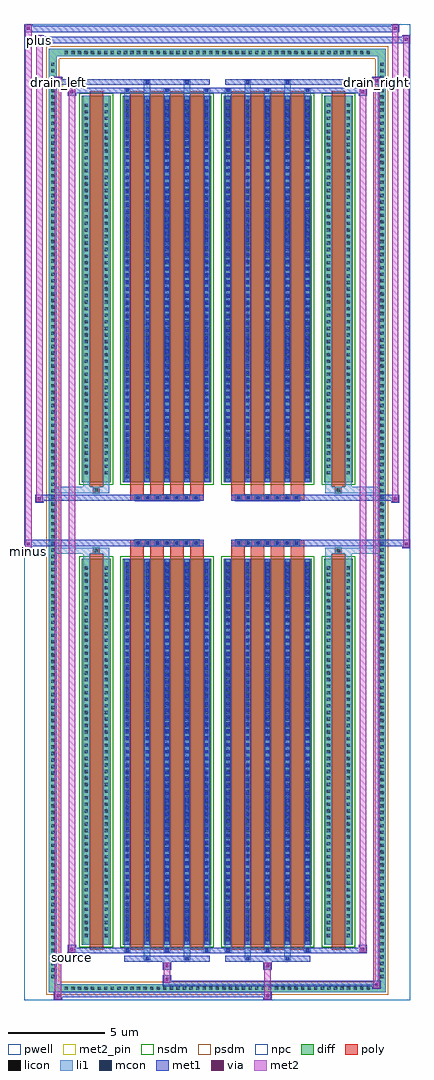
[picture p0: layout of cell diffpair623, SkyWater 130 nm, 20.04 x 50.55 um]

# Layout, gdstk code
import gdstk
lib = gdstk.Library(unit=1e-6, precision=5e-09)
def R(c, l, rs):  # rectangles x0, y0, x1, y1
    for r in rs: c.add(gdstk.rectangle(r[:2], r[2:], *l))
def A(c, l, x, y, w, h, nx, ny, dx, dy):  # array of equal rectangles
    R(c, l, [(x+i*dx, y+j*dy, x+i*dx+w, y+j*dy+h) for i in range(nx) for j in range(ny)])
def P(c, l, *ps):  # polygons
    for p in ps: c.add(gdstk.Polygon(p, *l))
pwell = (64, 44)
diff = (65, 20)
poly = (66, 20)
licon = (66, 44)
li1 = (67, 20)
mcon = (67, 44)
met1 = (68, 20)
via = (68, 44)
met2_pin = (69, 16)
met2 = (69, 20)
nsdm = (93, 44)
psdm = (94, 20)
npc = (95, 20)

diffpair623 = lib.new_cell('diffpair623')
R(diffpair623, pwell, [(-10,-24.84,10,25.71), (-7.32,-23.03,-0.01,-0.805), (0.01,-23.03,7.32,-0.805), (-7.32,0.805,-0.01,23.03), (0.01,0.805,7.32,23.03)])
A(diffpair623, diff, -8.025, -24.44, 0.41, 0.41, 47, 2, 0.34, 48.47)
A(diffpair623, diff, -8.73, -23.835, 0.41, 0.41, 1, 140, 0, 0.34)
A(diffpair623, diff, 8.32, -23.835, 0.41, 0.41, 1, 140, 0, 0.34)
R(diffpair623, diff, [(-8.025,-24.44,8.025,-24.03), (-8.73,-23.835,-8.32,23.835), (8.32,-23.835,8.73,23.835), (-7.01,-21.985,-5.53,-1.985), (-4.89,-21.985,-0.32,-1.985), (0.32,-21.985,4.89,-1.985), (5.53,-21.985,7.01,-1.985), (-7.01,1.985,-5.53,21.985), (-4.89,1.985,-0.32,21.985), (0.32,1.985,4.89,21.985), (5.53,1.985,7.01,21.985), (-8.025,24.03,8.025,24.44)])
P(diffpair623, diff, [(8.73,24.44),(-8.73,24.44),(-8.73,-24.03),(-8.32,-24.03),(-8.32,24.03),(8.32,24.03),(8.32,-24.03),(-8.32,-24.03),(-8.73,-24.03),(-8.73,-24.44),(8.73,-24.44)])
A(diffpair623, poly, -4.5, -22.235, 0.7, 20.5, 4, 2, 1.03, 23.97)
A(diffpair623, poly, 0.71, -22.235, 0.7, 20.5, 4, 2, 1.03, 23.97)
A(diffpair623, poly, -4.5, -1.735, 0.7, 0.4, 4, 2, 1.03, 3.07)
A(diffpair623, poly, 0.71, -1.735, 0.7, 0.4, 4, 2, 1.03, 3.07)
A(diffpair623, poly, -4.27, -1.335, 0.33, 0.33, 7, 2, 0.5, 2.34)
A(diffpair623, poly, 0.94, -1.335, 0.33, 0.33, 7, 2, 0.5, 2.34)
R(diffpair623, poly, [(-6.62,-22.235,-5.92,-1.735), (5.92,-22.235,6.62,-1.735), (-6.435,-1.735,-6.105,-1.405), (-6.435,-1.735,-6.105,-1.405), (6.105,-1.735,6.435,-1.405), (6.105,-1.735,6.435,-1.405), (-4.5,-1.335,-0.71,-1.005), (0.71,-1.335,4.5,-1.005), (-4.5,1.005,-0.71,1.335), (0.71,1.005,4.5,1.335), (-6.435,1.405,-6.105,1.735), (-6.435,1.405,-6.105,1.735), (6.105,1.405,6.435,1.735), (6.105,1.405,6.435,1.735), (-6.62,1.735,-5.92,22.235), (5.92,1.735,6.62,22.235)])
A(diffpair623, licon, -7.905, -24.32, 0.17, 0.17, 47, 2, 0.34, 48.47)
A(diffpair623, licon, -8.61, -23.715, 0.17, 0.17, 1, 140, 0, 0.34)
A(diffpair623, licon, 8.44, -23.715, 0.17, 0.17, 1, 140, 0, 0.34)
A(diffpair623, licon, -6.87, -21.59, 0.17, 0.17, 1, 57, 0, 0.34)
A(diffpair623, licon, -5.84, -21.59, 0.17, 0.17, 1, 57, 0, 0.34)
A(diffpair623, licon, -4.75, -21.59, 0.17, 0.17, 5, 57, 1.03, 0.34)
A(diffpair623, licon, 0.46, -21.59, 0.17, 0.17, 5, 57, 1.03, 0.34)
A(diffpair623, licon, 5.67, -21.59, 0.17, 0.17, 1, 57, 0, 0.34)
A(diffpair623, licon, 6.7, -21.59, 0.17, 0.17, 1, 57, 0, 0.34)
A(diffpair623, licon, -4.19, -1.255, 0.17, 0.17, 7, 2, 0.5, 2.34)
A(diffpair623, licon, 1.02, -1.255, 0.17, 0.17, 7, 2, 0.5, 2.34)
A(diffpair623, licon, -6.87, 2.38, 0.17, 0.17, 1, 57, 0, 0.34)
A(diffpair623, licon, -5.84, 2.38, 0.17, 0.17, 1, 57, 0, 0.34)
A(diffpair623, licon, -4.75, 2.38, 0.17, 0.17, 5, 57, 1.03, 0.34)
A(diffpair623, licon, 0.46, 2.38, 0.17, 0.17, 5, 57, 1.03, 0.34)
A(diffpair623, licon, 5.67, 2.38, 0.17, 0.17, 1, 57, 0, 0.34)
A(diffpair623, licon, 6.7, 2.38, 0.17, 0.17, 1, 57, 0, 0.34)
R(diffpair623, licon, [(-6.355,-1.655,-6.185,-1.485), (6.185,-1.655,6.355,-1.485), (-6.355,1.485,-6.185,1.655), (6.185,1.485,6.355,1.655)])
A(diffpair623, li1, -7.985, -24.4, 0.33, 0.33, 47, 2, 0.34, 48.47)
A(diffpair623, li1, -8.69, -23.795, 0.33, 0.33, 1, 140, 0, 0.34)
A(diffpair623, li1, 8.36, -23.795, 0.33, 0.33, 1, 140, 0, 0.34)
A(diffpair623, li1, -4.83, -22.36, 0.33, 0.375, 3, 2, 2.06, 44.345)
A(diffpair623, li1, -4.75, -22.36, 0.17, 0.17, 3, 2, 2.06, 44.55)
A(diffpair623, li1, 0.38, -22.36, 0.33, 0.375, 3, 2, 2.06, 44.345)
A(diffpair623, li1, 0.46, -22.36, 0.17, 0.17, 3, 2, 2.06, 44.55)
A(diffpair623, li1, -4.83, -21.985, 0.33, 20, 5, 2, 1.03, 23.97)
A(diffpair623, li1, 0.38, -21.985, 0.33, 20, 5, 2, 1.03, 23.97)
A(diffpair623, li1, -4.75, -21.79, 0.17, 0.17, 5, 55, 1.03, 0.36)
A(diffpair623, li1, -4.75, -21.79, 0.17, 19.61, 5, 2, 1.03, 23.97)
A(diffpair623, li1, 0.46, -21.79, 0.17, 0.17, 5, 55, 1.03, 0.36)
A(diffpair623, li1, 0.46, -21.79, 0.17, 19.61, 5, 2, 1.03, 23.97)
A(diffpair623, li1, -6.95, -21.67, 0.33, 0.33, 1, 57, 0, 0.34)
A(diffpair623, li1, -5.92, -21.67, 0.33, 0.33, 1, 57, 0, 0.34)
A(diffpair623, li1, -4.83, -21.67, 0.33, 0.33, 5, 57, 1.03, 0.34)
A(diffpair623, li1, 0.38, -21.67, 0.33, 0.33, 5, 57, 1.03, 0.34)
A(diffpair623, li1, 5.59, -21.67, 0.33, 0.33, 1, 57, 0, 0.34)
A(diffpair623, li1, 6.62, -21.67, 0.33, 0.33, 1, 57, 0, 0.34)
A(diffpair623, li1, -4.27, -1.335, 0.33, 0.33, 7, 2, 0.5, 2.34)
A(diffpair623, li1, 0.94, -1.335, 0.33, 0.33, 7, 2, 0.5, 2.34)
A(diffpair623, li1, -4.75, 2.18, 0.17, 0.17, 5, 55, 1.03, 0.36)
A(diffpair623, li1, 0.46, 2.18, 0.17, 0.17, 5, 55, 1.03, 0.36)
A(diffpair623, li1, -6.95, 2.3, 0.33, 0.33, 1, 57, 0, 0.34)
A(diffpair623, li1, -5.92, 2.3, 0.33, 0.33, 1, 57, 0, 0.34)
A(diffpair623, li1, -4.83, 2.3, 0.33, 0.33, 5, 57, 1.03, 0.34)
A(diffpair623, li1, 0.38, 2.3, 0.33, 0.33, 5, 57, 1.03, 0.34)
A(diffpair623, li1, 5.59, 2.3, 0.33, 0.33, 1, 57, 0, 0.34)
A(diffpair623, li1, 6.62, 2.3, 0.33, 0.33, 1, 57, 0, 0.34)
R(diffpair623, li1, [(-8.73,-24.44,-8.32,-24.03), (-8.73,-24.44,-8.32,-24.03), (-8.32,-24.44,8.32,-24.03), (8.32,-24.44,8.73,-24.03), (8.32,-24.44,8.73,-24.03), (-8.73,-24.03,-8.32,24.03), (8.32,-24.03,8.73,24.03), (-3.8,-22.79,-3.47,-21.985), (-3.72,-22.79,-3.55,-22.62), (-1.74,-22.79,-1.41,-21.985), (-1.66,-22.79,-1.49,-22.62), (1.41,-22.79,1.74,-21.985), (1.49,-22.79,1.66,-22.62), (3.47,-22.79,3.8,-21.985), (3.55,-22.79,3.72,-22.62), (-6.95,-21.985,-6.62,-1.985), (-5.92,-21.985,-5.59,-1.985), (5.59,-21.985,5.92,-1.985), (6.62,-21.985,6.95,-1.985), (-6.95,-1.985,-6.62,-1.405), (-5.92,-1.985,-5.59,-1.405), (5.59,-1.985,5.92,-1.405), (6.62,-1.985,6.95,-1.405), (-8.73,-1.735,-6.435,-1.405), (-6.95,-1.735,-6.435,-1.405), (-6.435,-1.735,-6.105,-1.405), (-6.105,-1.735,-5.59,-1.405), (5.59,-1.735,6.105,-1.405), (6.105,-1.735,6.435,-1.405), (6.105,-1.735,8.73,-1.405), (6.435,-1.735,6.95,-1.405), (-8.73,1.405,-6.435,1.735), (-6.95,1.405,-6.435,1.735), (-6.95,1.405,-6.62,1.985), (-6.435,1.405,-6.105,1.735), (-6.105,1.405,-5.59,1.735), (-5.92,1.405,-5.59,1.985), (5.59,1.405,6.105,1.735), (5.59,1.405,5.92,1.985), (6.105,1.405,6.435,1.735), (6.105,1.405,8.73,1.735), (6.435,1.405,6.95,1.735), (6.62,1.405,6.95,1.985), (-6.95,1.985,-6.62,21.985), (-5.92,1.985,-5.59,21.985), (5.59,1.985,5.92,21.985), (6.62,1.985,6.95,21.985), (-3.8,21.985,-3.47,22.79), (-1.74,21.985,-1.41,22.79), (1.41,21.985,1.74,22.79), (3.47,21.985,3.8,22.79), (-3.72,22.62,-3.55,22.79), (-1.66,22.62,-1.49,22.79), (1.49,22.62,1.66,22.79), (3.55,22.62,3.72,22.79), (-8.73,24.03,-8.32,24.44), (-8.73,24.03,-8.32,24.44), (-8.32,24.03,8.32,24.44), (8.32,24.03,8.73,24.44), (8.32,24.03,8.73,24.44)])
A(diffpair623, mcon, -4.75, -22.36, 0.17, 0.17, 3, 2, 2.06, 44.55)
A(diffpair623, mcon, 0.46, -22.36, 0.17, 0.17, 3, 2, 2.06, 44.55)
A(diffpair623, mcon, -4.75, -21.79, 0.17, 0.17, 5, 55, 1.03, 0.36)
A(diffpair623, mcon, 0.46, -21.79, 0.17, 0.17, 5, 55, 1.03, 0.36)
A(diffpair623, mcon, -4.19, -1.255, 0.17, 0.17, 7, 2, 0.5, 2.34)
A(diffpair623, mcon, 1.02, -1.255, 0.17, 0.17, 7, 2, 0.5, 2.34)
A(diffpair623, mcon, -4.75, 2.18, 0.17, 0.17, 5, 55, 1.03, 0.36)
A(diffpair623, mcon, 0.46, 2.18, 0.17, 0.17, 5, 55, 1.03, 0.36)
R(diffpair623, mcon, [(-3.72,-22.79,-3.55,-22.62), (-1.66,-22.79,-1.49,-22.62), (1.49,-22.79,1.66,-22.62), (3.55,-22.79,3.72,-22.62), (-3.72,22.62,-3.55,22.79), (-1.66,22.62,-1.49,22.79), (1.49,22.62,1.66,22.79), (3.55,22.62,3.72,22.79)])
A(diffpair623, met1, -4.81, -22.42, 0.29, 0.29, 3, 2, 2.06, 44.55)
A(diffpair623, met1, 0.4, -22.42, 0.29, 0.29, 3, 2, 2.06, 44.55)
A(diffpair623, met1, -4.81, -21.985, 0.29, 20, 5, 2, 1.03, 23.97)
A(diffpair623, met1, 0.4, -21.985, 0.29, 20, 5, 2, 1.03, 23.97)
A(diffpair623, met1, -4.81, -21.85, 0.29, 0.29, 5, 55, 1.03, 0.36)
A(diffpair623, met1, 0.4, -21.85, 0.29, 0.29, 5, 55, 1.03, 0.36)
A(diffpair623, met1, -4.25, -1.315, 0.29, 0.29, 7, 2, 0.5, 2.34)
A(diffpair623, met1, 0.96, -1.315, 0.29, 0.29, 7, 2, 0.5, 2.34)
A(diffpair623, met1, -4.81, 2.12, 0.29, 0.29, 5, 55, 1.03, 0.36)
A(diffpair623, met1, 0.4, 2.12, 0.29, 0.29, 5, 55, 1.03, 0.36)
R(diffpair623, met1, [(-8.46,-24.84,-8.03,-24.41), (2.39,-24.84,2.82,-24.41), (-8.46,-24.7,2.82,-24.41), (8.03,-24.27,8.46,-23.84), (-2.82,-24.13,8.46,-23.84), (-2.82,-23.99,-2.39,-23.56), (-2.82,-23.28,-2.39,-22.85), (2.39,-23.28,2.82,-22.85), (-4.81,-22.85,-0.4,-22.56), (-3.78,-22.85,-3.49,-22.56), (-1.72,-22.85,-1.43,-22.56), (0.4,-22.85,4.81,-22.56), (1.43,-22.85,1.72,-22.56), (3.49,-22.85,3.78,-22.56), (-7.75,-22.42,-7.32,-21.99), (-7.75,-22.42,-4.81,-22.13), (-4.81,-22.42,-0.4,-22.13), (-0.4,-22.42,0.4,-22.13), (0.4,-22.42,4.81,-22.13), (4.81,-22.42,7.75,-22.13), (7.32,-22.42,7.75,-21.99), (-10,-1.435,-9.57,-1.005), (9.57,-1.435,10,-1.005), (-10,-1.335,-0.71,-1.005), (-4.5,-1.335,-0.71,-1.005), (0.71,-1.335,4.5,-1.005), (0.71,-1.335,10,-1.005), (-9.43,0.905,-9,1.335), (9,0.905,9.43,1.335), (-9.43,1.005,-4.5,1.335), (-4.5,1.005,-0.71,1.335), (0.71,1.005,4.5,1.335), (4.5,1.005,9.43,1.335), (-7.75,21.99,-7.32,22.42), (7.32,21.99,7.75,22.42), (-7.75,22.13,-4.81,22.42), (-4.81,22.13,-0.4,22.42), (-0.4,22.13,0.4,22.42), (0.4,22.13,4.81,22.42), (4.81,22.13,7.75,22.42), (-8.46,22.56,-8.03,22.99), (-8.46,22.56,-4.81,22.85), (-4.81,22.56,-0.4,22.85), (-3.78,22.56,-3.49,22.85), (-1.72,22.56,-1.43,22.85), (0.4,22.56,4.81,22.85), (1.43,22.56,1.72,22.85), (3.49,22.56,3.78,22.85), (4.81,22.56,8.46,22.85), (8.03,22.56,8.46,22.99), (-9.43,24.71,-9,25.14), (-9.43,24.71,-7.32,25.04), (-7.32,24.71,7.32,25.04), (7.32,24.71,10,25.04), (9.57,24.71,10,25.14), (-10,25.28,-9.57,25.71), (-10,25.28,-7.32,25.61), (-7.32,25.28,7.32,25.61), (7.32,25.28,9.43,25.61), (9,25.28,9.43,25.71)])
R(diffpair623, via, [(-8.32,-24.7,-8.17,-24.55), (2.53,-24.7,2.68,-24.55), (8.17,-24.13,8.32,-23.98), (-2.68,-23.85,-2.53,-23.7), (-2.68,-23.14,-2.53,-22.99), (2.53,-23.14,2.68,-22.99), (-7.61,-22.28,-7.46,-22.13), (7.46,-22.28,7.61,-22.13), (-9.86,-1.295,-9.71,-1.145), (9.71,-1.295,9.86,-1.145), (-9.29,1.045,-9.14,1.195), (9.14,1.045,9.29,1.195), (-7.61,22.13,-7.46,22.28), (7.46,22.13,7.61,22.28), (-8.32,22.7,-8.17,22.85), (8.17,22.7,8.32,22.85), (-9.29,24.85,-9.14,25), (9.71,24.85,9.86,25), (-9.86,25.42,-9.71,25.57), (9.14,25.42,9.29,25.57)])
R(diffpair623, met2_pin, [(-7.785,-22.87,-7.285,-22.37), (-10.035,-1.885,-9.535,-1.385), (-8.495,22.44,-7.995,22.94), (7.995,22.44,8.495,22.94), (-9.465,24.59,-8.965,25.09)])
R(diffpair623, met2, [(-8.41,-24.79,-8.08,-24.46), (-8.41,-24.79,-8.08,22.94), (2.44,-24.79,2.77,-24.46), (2.44,-24.46,2.77,-23.23), (8.08,-24.22,8.41,-23.89), (8.08,-24.22,8.41,22.94), (-2.77,-23.94,-2.44,-23.61), (-2.77,-23.61,-2.44,-23.23), (-2.77,-23.23,-2.44,-22.9), (2.44,-23.23,2.77,-22.9), (-7.7,-22.37,-7.37,-22.04), (-7.7,-22.37,-7.37,22.37), (7.37,-22.37,7.7,-22.04), (7.37,-22.37,7.7,22.37), (-9.95,-1.385,-9.62,-1.055), (-9.95,-1.385,-9.62,25.66), (9.62,-1.385,9.95,-1.055), (9.62,-1.385,9.95,25.09), (-9.38,0.955,-9.05,1.285), (-9.38,0.955,-9.05,25.09), (9.05,0.955,9.38,1.285), (9.05,0.955,9.38,25.66), (-7.7,22.04,-7.37,22.37), (7.37,22.04,7.7,22.37), (-8.41,22.61,-8.08,22.94), (8.08,22.61,8.41,22.94), (-9.38,24.76,-9.05,25.09), (9.62,24.76,9.95,25.09), (-9.95,25.33,-9.62,25.66), (9.05,25.33,9.38,25.66)])
P(diffpair623, met2, [(9.95,-1.385),(9.95,-1.385),(9.95,-1.055),(9.95,-1.055)],
  [(9.95,24.76),(9.95,24.76),(9.95,25.09),(9.95,25.09)],
  [(-9.62,-1.385),(-9.62,-1.385),(-9.62,-1.055),(-9.62,-1.055)],
  [(-9.62,25.33),(-9.62,25.33),(-9.62,25.66),(-9.62,25.66)],
  [(9.38,0.955),(9.38,0.955),(9.38,1.285),(9.38,1.285)],
  [(9.38,25.33),(9.38,25.33),(9.38,25.66),(9.38,25.66)],
  [(-9.05,0.955),(-9.05,0.955),(-9.05,1.285),(-9.05,1.285)],
  [(-9.05,24.76),(-9.05,24.76),(-9.05,25.09),(-9.05,25.09)],
  [(-8.08,-24.79),(-8.08,-24.79),(-8.08,-24.46),(-8.08,-24.46)],
  [(-8.08,22.61),(-8.08,22.61),(-8.08,22.94),(-8.08,22.94)],
  [(8.41,-24.22),(8.41,-24.22),(8.41,-23.89),(8.41,-23.89)],
  [(8.41,22.61),(8.41,22.61),(8.41,22.94),(8.41,22.94)],
  [(-7.37,-22.37),(-7.37,-22.37),(-7.37,-22.04),(-7.37,-22.04)],
  [(-7.37,22.04),(-7.37,22.04),(-7.37,22.37),(-7.37,22.37)],
  [(7.7,-22.37),(7.7,-22.37),(7.7,-22.04),(7.7,-22.04)],
  [(7.7,22.04),(7.7,22.04),(7.7,22.37),(7.7,22.37)])
R(diffpair623, nsdm, [(-7.14,-22.115,-5.4,-1.855), (-5.02,-22.115,-0.19,-1.855), (0.19,-22.115,5.02,-1.855), (5.4,-22.115,7.14,-1.855), (-7.14,1.855,-5.4,22.115), (-5.02,1.855,-0.19,22.115), (0.19,1.855,5.02,22.115), (5.4,1.855,7.14,22.115)])
P(diffpair623, psdm, [(8.86,24.57),(-8.86,24.57),(-8.86,-23.9),(-8.19,-23.9),(-8.19,23.9),(8.19,23.9),(8.19,-23.9),(-8.19,-23.9),(-8.86,-23.9),(-8.86,-24.57),(8.86,-24.57)])
A(diffpair623, npc, -4.29, -1.355, 0.37, 0.37, 7, 2, 0.5, 2.34)
A(diffpair623, npc, 0.92, -1.355, 0.37, 0.37, 7, 2, 0.5, 2.34)
R(diffpair623, npc, [(-6.455,-1.755,-6.085,-1.385), (6.085,-1.755,6.455,-1.385), (-4.29,-1.355,-3.42,-0.985), (-4.29,-1.355,-3.42,-0.985), (-3.79,-1.355,-2.92,-0.985), (-3.79,-1.355,-2.92,-0.985), (-3.29,-1.355,-2.42,-0.985), (-3.29,-1.355,-2.42,-0.985), (-2.79,-1.355,-1.92,-0.985), (-2.79,-1.355,-1.92,-0.985), (-2.29,-1.355,-1.42,-0.985), (-2.29,-1.355,-1.42,-0.985), (-1.79,-1.355,-0.92,-0.985), (-1.79,-1.355,-0.92,-0.985), (0.92,-1.355,1.79,-0.985), (0.92,-1.355,1.79,-0.985), (1.42,-1.355,2.29,-0.985), (1.42,-1.355,2.29,-0.985), (1.92,-1.355,2.79,-0.985), (1.92,-1.355,2.79,-0.985), (2.42,-1.355,3.29,-0.985), (2.42,-1.355,3.29,-0.985), (2.92,-1.355,3.79,-0.985), (2.92,-1.355,3.79,-0.985), (3.42,-1.355,4.29,-0.985), (3.42,-1.355,4.29,-0.985), (-4.29,0.985,-3.42,1.355), (-4.29,0.985,-3.42,1.355), (-3.79,0.985,-2.92,1.355), (-3.79,0.985,-2.92,1.355), (-3.29,0.985,-2.42,1.355), (-3.29,0.985,-2.42,1.355), (-2.79,0.985,-1.92,1.355), (-2.79,0.985,-1.92,1.355), (-2.29,0.985,-1.42,1.355), (-2.29,0.985,-1.42,1.355), (-1.79,0.985,-0.92,1.355), (-1.79,0.985,-0.92,1.355), (0.92,0.985,1.79,1.355), (0.92,0.985,1.79,1.355), (1.42,0.985,2.29,1.355), (1.42,0.985,2.29,1.355), (1.92,0.985,2.79,1.355), (1.92,0.985,2.79,1.355), (2.42,0.985,3.29,1.355), (2.42,0.985,3.29,1.355), (2.92,0.985,3.79,1.355), (2.92,0.985,3.79,1.355), (3.42,0.985,4.29,1.355), (3.42,0.985,4.29,1.355), (-6.455,1.385,-6.085,1.755), (6.085,1.385,6.455,1.755)])
diffpair623.add(gdstk.Label('minus', (-9.785,-1.635), layer=69, texttype=5))
diffpair623.add(gdstk.Label('drain_right', (8.245,22.69), layer=69, texttype=5))
diffpair623.add(gdstk.Label('drain_left', (-8.245,22.69), layer=69, texttype=5))
diffpair623.add(gdstk.Label('source', (-7.535,-22.62), layer=69, texttype=5))
diffpair623.add(gdstk.Label('plus', (-9.215,24.84), layer=69, texttype=5))

lib.write_gds('diffpair623.gds')
